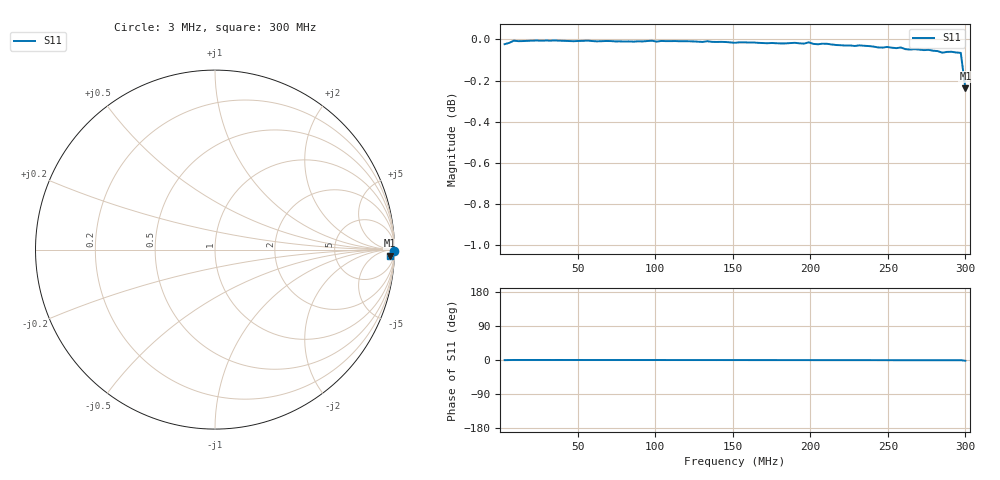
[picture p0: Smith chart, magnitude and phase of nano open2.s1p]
! File created by NanoVNA (https://gen111.taobao.com/)
! Start 3000000Hz  Stop 300000000Hz  Points 101
# HZ S MA R 50
!S - Parameter data, F S11
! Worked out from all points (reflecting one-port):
!   101 points, 3 MHz to 300 MHz, reference 50 ohm
!   lowest |S11| = -0.2 dB at 300 MHz (marker M1), VSWR 73.24, Z = 1.38e+03 - j1.77e+03 ohm
!   phase of S11 starts at -0 deg and turns -2 deg over the sweep
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3000000  0.9974 -0.3
5970000  0.9981 -0.1
8940000  0.9993 0.1
4.161e7  0.9992 0.0
7.725e7  0.9989 -0.0
1.1586e8  0.999 -0.1
1.2774e8  0.9988 -0.1
1.3368e8  0.999 -0.1
1.515e8  0.9982 -0.2
1.9011e8  0.9981 -0.3
1.9605e8  0.9977 -0.3
1.9902e8  0.9984 -0.3
2.0496e8  0.9973 -0.3
2.109e8  0.9976 -0.3
2.1387e8  0.9972 -0.3
2.2575e8  0.9967 -0.4
2.3169e8  0.9967 -0.4
2.4654e8  0.9955 -0.4
2.5842e8  0.9955 -0.5
2.6436e8  0.9944 -0.5
2.7624e8  0.9942 -0.5
2.8218e8  0.9935 -0.5
2.8515e8  0.9926 -0.6
2.8812e8  0.9931 -0.6
2.9109e8  0.9931 -0.5
2.9406e8  0.9928 -0.6
2.9703e8  0.9925 -0.5
3e8  0.9731 -2.0
